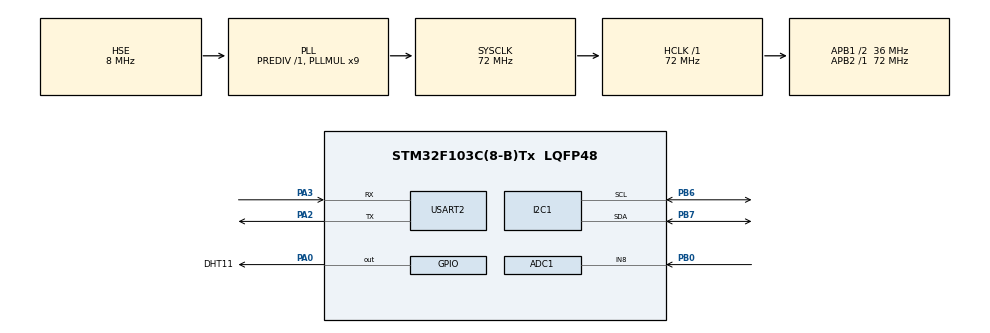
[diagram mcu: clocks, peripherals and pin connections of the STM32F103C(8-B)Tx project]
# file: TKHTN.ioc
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ADC1.Channel-6\#ChannelRegularConversion=ADC_CHANNEL_8
ADC1.NbrOfConversionFlag=1
ADC1.Rank-6\#ChannelRegularConversion=1
ADC1.SamplingTime-6\#ChannelRegularConversion=ADC_SAMPLETIME_1CYCLE_5
ADC1.master=1
FREERTOS.Tasks01=Task1,-2,128,Task1DHT11,Default,NULL,Dynamic,NULL,NULL;Task2,1,128,Task2MQ2,Default,NULL,Dynamic,NULL,NULL;Task3,0,128,Task3LCD,Default,NULL,Dynamic,NULL,NULL;Task4,2,128,Task4UART,Default,NULL,Dynamic,NULL,NULL
Mcu.Family=STM32F1
Mcu.Name=STM32F103C(8-B)Tx
Mcu.Package=LQFP48
NVIC.ADC1_2_IRQn=true\:5\:0\:false\:false\:true\:true\:true\:true\:true
NVIC.PriorityGroup=NVIC_PRIORITYGROUP_4
NVIC.TIM4_IRQn=true\:15\:0\:false\:false\:true\:false\:false\:true\:true
NVIC.TimeBase=TIM4_IRQn
NVIC.TimeBaseIP=TIM4
PA0-WKUP.GPIO_Label=DHT11
PA0-WKUP.Signal=GPIO_Output
PA13.Mode=Serial_Wire
PA13.Signal=SYS_JTMS-SWDIO
PA14.Mode=Serial_Wire
PA14.Signal=SYS_JTCK-SWCLK
PA2.Mode=Asynchronous
PA2.Signal=USART2_TX
PA3.Mode=Asynchronous
PA3.Signal=USART2_RX
PB0.Signal=ADCx_IN8
PB6.Mode=I2C
PB6.Signal=I2C1_SCL
PB7.Mode=I2C
PB7.Signal=I2C1_SDA
PD0-OSC_IN.Mode=HSE-External-Oscillator
PD0-OSC_IN.Signal=RCC_OSC_IN
PD1-OSC_OUT.Mode=HSE-External-Oscillator
PD1-OSC_OUT.Signal=RCC_OSC_OUT
ProjectManager.HeapSize=0x200
ProjectManager.StackSize=0x400
ProjectManager.TargetToolchain=MDK-ARM V5.32
RCC.ADCPresc=RCC_ADCPCLK2_DIV6
RCC.AHBFreq_Value=72000000
RCC.APB1CLKDivider=RCC_HCLK_DIV2
RCC.APB1Freq_Value=36000000
RCC.APB1TimFreq_Value=72000000
RCC.APB2Freq_Value=72000000
RCC.APB2TimFreq_Value=72000000
RCC.HCLKFreq_Value=72000000
RCC.PLLMUL=RCC_PLL_MUL9
RCC.PLLSourceVirtual=RCC_PLLSOURCE_HSE
RCC.SYSCLKFreq_VALUE=72000000
RCC.SYSCLKSource=RCC_SYSCLKSOURCE_PLLCLK
RCC.USBFreq_Value=72000000
SH.ADCx_IN8.0=ADC1_IN8,IN8
USART2.VirtualMode=VM_ASYNC
VP_FREERTOS_VS_CMSIS_V1.Mode=CMSIS_V1
VP_SYS_VS_tim4.Mode=TIM4
board=custom

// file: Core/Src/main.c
/* USER CODE BEGIN Header */
/**
  ******************************************************************************
  * @file           : main.c
  * @brief          : Main program body
  ******************************************************************************
  * @attention
  *
  * Copyright (c) 2025 STMicroelectronics.
  * All rights reserved.
  *
  * This software is licensed under terms that can be found in the LICENSE file
  * in the root directory of this software component.
  * If no LICENSE file comes with this software, it is provided AS-IS.
  *
  ******************************************************************************
  */
/* USER CODE END Header */
#include "main.h"
#include "cmsis_os.h"

/* USER CODE BEGIN Includes */

#include "i2c-lcd.h"
#include "FreeRTOS.h"
#include "stdio.h"
#include "string.h"
#include "task.h"
#include "queue.h"
#include "uart.h"
#include "dht11.h"

/* USER CODE END Includes */

/* USER CODE BEGIN PTD */
typedef struct {
    float temperature;
    float humidity;
} DHT11_Data_t;
/* USER CODE END PTD */

/* USER CODE BEGIN PD */

#define DHT11_PERIOD_MS 1000
#define MQ2_PERIOD_MS 200
#define LCD_PERIOD_MS 500
#define UART_PERIOD_MS 100

#define DHT11_DEADLINE_MS 1000
#define MQ2_DEADLINE_MS 200
#define LCD_DEADLINE_MS 500
#define UART_DEADLINE_MS 100

#define DHT11_EXCUTION_MS 20
#define MQ2_EXCUTION_MS 2
#define LCD_EXCUTION_MS 30
#define UART_EXCUTION_MS 5

/* USER CODE END PD */

/* USER CODE BEGIN PM */
																float temp =1 , hum =2 ;
																float gas_level =3.4f ;

/* USER CODE END PM */

ADC_HandleTypeDef hadc1;

I2C_HandleTypeDef hi2c1;

UART_HandleTypeDef huart2;

osThreadId Task1Handle;
osThreadId Task2Handle;
osThreadId Task3Handle;
osThreadId Task4Handle;
/* USER CODE BEGIN PV */

// Khai bao cac bien
uint32_t a = 0;
uint32_t b = 0;
uint32_t c = 0;
uint32_t d = 0;

uint32_t DHT11_Period_ms = 1000;
uint32_t MQ2_Period_ms = 200;
uint32_t LCD_Period_ms = 500;
uint32_t UART_Period_ms = 100;

uint8_t UART_Recv[5];

QueueHandle_t QueueDHT11Handle; // khoi tao mot Queue (tuong tu de khoi tao mot task thi ta co lenh: TaskHandle_t)
QueueHandle_t QueueMQ2Handle;
QueueHandle_t QueueLCDHandle;
QueueHandle_t QueueUARTHandle;

/* USER CODE END PV */

void SystemClock_Config(void);
static void MX_GPIO_Init(void);
static void MX_I2C1_Init(void);
static void MX_USART2_UART_Init(void);
static void MX_ADC1_Init(void);
void Task1DHT11(void const * argument);
void Task2MQ2(void const * argument);
void Task3LCD(void const * argument);
void Task4UART(void const * argument);

int main(void)
{

  /* MCU Configuration--------------------------------------------------------*/

  /* Reset of all peripherals, Initializes the Flash interface and the Systick. */
  HAL_Init();

  /* Configure the system clock */
  SystemClock_Config();

  /* Initialize all configured peripherals */
  MX_GPIO_Init();
  MX_I2C1_Init();
  MX_USART2_UART_Init();
  MX_ADC1_Init();

  /* USER CODE BEGIN RTOS_QUEUES */
  /* add queues, ... */
	QueueDHT11Handle = xQueueCreate(10, sizeof(char[50])); // tao mot queue moi
	QueueMQ2Handle = xQueueCreate(10, sizeof(char[50]));
	QueueLCDHandle = xQueueCreate(10, sizeof(char[50]));
	QueueUARTHandle = xQueueCreate(10, sizeof(char[50]));
  /* USER CODE END RTOS_QUEUES */

  /* Create the thread(s) */
  /* definition and creation of Task1 */
  osThreadDef(Task1, Task1DHT11, osPriorityLow, 0, 512);
  Task1Handle = osThreadCreate(osThread(Task1), NULL);

  /* definition and creation of Task2 */
  osThreadDef(Task2, Task2MQ2, osPriorityAboveNormal, 0, 512);
  Task2Handle = osThreadCreate(osThread(Task2), NULL);

  /* definition and creation of Task3 */
  osThreadDef(Task3, Task3LCD, osPriorityNormal, 0, 512);
  Task3Handle = osThreadCreate(osThread(Task3), NULL);

  /* definition and creation of Task4 */
  osThreadDef(Task4, Task4UART, osPriorityHigh, 0, 512);
  Task4Handle = osThreadCreate(osThread(Task4), NULL);

  /* Start scheduler */
  osKernelStart();

  /* We should never get here as control is now taken by the scheduler */

  /* Infinite loop */
  while (1)
  {

  }
}

void SystemClock_Config(void)
{
  RCC_OscInitTypeDef RCC_OscInitStruct = {0};
  RCC_ClkInitTypeDef RCC_ClkInitStruct = {0};
  RCC_PeriphCLKInitTypeDef PeriphClkInit = {0};

  /** Initializes the RCC Oscillators according to the specified parameters
  * in the RCC_OscInitTypeDef structure.
  */
  RCC_OscInitStruct.OscillatorType = RCC_OSCILLATORTYPE_HSE;
  RCC_OscInitStruct.HSEState = RCC_HSE_ON;
  RCC_OscInitStruct.HSEPredivValue = RCC_HSE_PREDIV_DIV1;
  RCC_OscInitStruct.HSIState = RCC_HSI_ON;
  RCC_OscInitStruct.PLL.PLLState = RCC_PLL_ON;
  RCC_OscInitStruct.PLL.PLLSource = RCC_PLLSOURCE_HSE;
  RCC_OscInitStruct.PLL.PLLMUL = RCC_PLL_MUL9;
  if (HAL_RCC_OscConfig(&RCC_OscInitStruct) != HAL_OK)
  {
    Error_Handler();
  }

  /** Initializes the CPU, AHB and APB buses clocks
  */
  RCC_ClkInitStruct.ClockType = RCC_CLOCKTYPE_HCLK|RCC_CLOCKTYPE_SYSCLK
                              |RCC_CLOCKTYPE_PCLK1|RCC_CLOCKTYPE_PCLK2;
  RCC_ClkInitStruct.SYSCLKSource = RCC_SYSCLKSOURCE_PLLCLK;
  RCC_ClkInitStruct.AHBCLKDivider = RCC_SYSCLK_DIV1;
  RCC_ClkInitStruct.APB1CLKDivider = RCC_HCLK_DIV2;
  RCC_ClkInitStruct.APB2CLKDivider = RCC_HCLK_DIV1;

  if (HAL_RCC_ClockConfig(&RCC_ClkInitStruct, FLASH_LATENCY_2) != HAL_OK)
  {
    Error_Handler();
  }
  PeriphClkInit.PeriphClockSelection = RCC_PERIPHCLK_ADC;
  PeriphClkInit.AdcClockSelection = RCC_ADCPCLK2_DIV6;
  if (HAL_RCCEx_PeriphCLKConfig(&PeriphClkInit) != HAL_OK)
  {
    Error_Handler();
  }
}

static void MX_ADC1_Init(void)
{

  ADC_ChannelConfTypeDef sConfig = {0};

  /** Common config
  */
  hadc1.Instance = ADC1;
  hadc1.Init.ScanConvMode = ADC_SCAN_DISABLE;
  hadc1.Init.ContinuousConvMode = DISABLE;
  hadc1.Init.DiscontinuousConvMode = DISABLE;
  hadc1.Init.ExternalTrigConv = ADC_SOFTWARE_START;
  hadc1.Init.DataAlign = ADC_DATAALIGN_RIGHT;
  hadc1.Init.NbrOfConversion = 1;
  if (HAL_ADC_Init(&hadc1) != HAL_OK)
  {
    Error_Handler();
  }

  /** Configure Regular Channel
  */
  sConfig.Channel = ADC_CHANNEL_8;
  sConfig.Rank = ADC_REGULAR_RANK_1;
  sConfig.SamplingTime = ADC_SAMPLETIME_1CYCLE_5;
  if (HAL_ADC_ConfigChannel(&hadc1, &sConfig) != HAL_OK)
  {
    Error_Handler();
  }

}

static void MX_I2C1_Init(void)
{

  hi2c1.Instance = I2C1;
  hi2c1.Init.ClockSpeed = 100000;
  hi2c1.Init.DutyCycle = I2C_DUTYCYCLE_2;
  hi2c1.Init.OwnAddress1 = 0;
  hi2c1.Init.AddressingMode = I2C_ADDRESSINGMODE_7BIT;
  hi2c1.Init.DualAddressMode = I2C_DUALADDRESS_DISABLE;
  hi2c1.Init.OwnAddress2 = 0;
  hi2c1.Init.GeneralCallMode = I2C_GENERALCALL_DISABLE;
  hi2c1.Init.NoStretchMode = I2C_NOSTRETCH_DISABLE;
  if (HAL_I2C_Init(&hi2c1) != HAL_OK)
  {
    Error_Handler();
  }

}

static void MX_USART2_UART_Init(void)
{

  huart2.Instance = USART2;
  huart2.Init.BaudRate = 115200;
  huart2.Init.WordLength = UART_WORDLENGTH_8B;
  huart2.Init.StopBits = UART_STOPBITS_1;
  huart2.Init.Parity = UART_PARITY_NONE;
  huart2.Init.Mode = UART_MODE_TX_RX;
  huart2.Init.HwFlowCtl = UART_HWCONTROL_NONE;
  huart2.Init.OverSampling = UART_OVERSAMPLING_16;
  if (HAL_UART_Init(&huart2) != HAL_OK)
  {
    Error_Handler();
  }

}

static void MX_GPIO_Init(void)
{
  GPIO_InitTypeDef GPIO_InitStruct = {0};

  /* GPIO Ports Clock Enable */
  __HAL_RCC_GPIOD_CLK_ENABLE();
  __HAL_RCC_GPIOA_CLK_ENABLE();
  __HAL_RCC_GPIOB_CLK_ENABLE();

  /*Configure GPIO pin Output Level */
  HAL_GPIO_WritePin(DHT11_GPIO_Port, DHT11_Pin, GPIO_PIN_RESET);

  /*Configure GPIO pin : DHT11_Pin */
  GPIO_InitStruct.Pin = DHT11_Pin;
  GPIO_InitStruct.Mode = GPIO_MODE_OUTPUT_PP;
  GPIO_InitStruct.Pull = GPIO_NOPULL;
  GPIO_InitStruct.Speed = GPIO_SPEED_FREQ_LOW;
  HAL_GPIO_Init(DHT11_GPIO_Port, &GPIO_InitStruct);

}

/* USER CODE BEGIN Header_Task1DHT11 */
/**
  * @brief  Function implementing the Task1 thread.
  * @param  argument: Not used  * @retval None
  */
/* USER CODE END Header_Task1DHT11 */
void Task1DHT11(void const * argument)
{
  /* USER CODE BEGIN 5 */
	TickType_t xLastWakeTime1 = osKernelSysTick();
	char message[50];
	//DHT11_Data_t dhtData;

  /* Infinite loop */
  for(;;)
  {
    a++;
		/*
		DHT11_Read(&temp, &hum);
		snprintf(message, sizeof(message), "Temp:%.2f ",temp);

		xQueueSend(QueueDHT11Handle, &message, 100);
		xQueueSend(QueueUARTHandle, &message, 100);
		*/
		osDelayUntil(&xLastWakeTime1, pdMS_TO_TICKS(DHT11_Period_ms));
  }
  /* USER CODE END 5 */
}

void Task2MQ2(void const * argument)
{
  /* USER CODE BEGIN Task2MQ2 */
	TickType_t xLastWakeTime2 = osKernelSysTick();
	char message[50];
	uint32_t raw_adc = 0;

  /* Infinite loop */
  for(;;)
  {
   b++;
		/*
		HAL_ADC_Start(&hadc1);
        HAL_ADC_PollForConversion(&hadc1, 10);
        raw_adc = HAL_ADC_GetValue(&hadc1);
        HAL_ADC_Stop(&hadc1);
    gas_level=(float)raw_adc/4095.f;

		snprintf(message, sizeof(message), "MQ2: %.2f", gas_level);

		xQueueSend(QueueMQ2Handle, &message, 100);
		xQueueSend(QueueUARTHandle, &message, 100);
		*/
    osDelayUntil(&xLastWakeTime2, pdMS_TO_TICKS(MQ2_Period_ms));
  }
  /* USER CODE END Task2MQ2 */
}

void Task3LCD(void const * argument)
{
  /* USER CODE BEGIN Task3LCD */
	TickType_t xLastWakeTime3 = osKernelSysTick();

  /* Infinite loop */
  for(;;)
  {
    c++;
		char buf[50];
		char buf1[50];
		// Xu ly task hien thi LCD
//		xQueueReceive(QueueDHT11Handle, buf, portMAX_DELAY);
//		xQueueReceive(QueueMQ2Handle, buf1, portMAX_DELAY);
		/*
		if (xQueueReceive(QueueDHT11Handle, buf, portMAX_DELAY) == pdPASS) {
		lcd_goto_XY(0, 0);
		lcd_send_string(buf);}

		if (xQueueReceive(QueueMQ2Handle, buf1, portMAX_DELAY) == pdPASS) {
		lcd_goto_XY(1, 0);
		lcd_send_string(buf1);}
		*/
		lcd_goto_XY(0, 0);
		snprintf(buf,sizeof(buf), "Temp: %f", temp);
		lcd_send_string(buf);

		osDelayUntil(&xLastWakeTime3, pdMS_TO_TICKS(LCD_Period_ms));
  }
  /* USER CODE END Task3LCD */
}

void Task4UART(void const * argument)
{
  /* USER CODE BEGIN Task4UART */
	TickType_t xLastWakeTime4 = osKernelSysTick();
	char uart_buf[100];
  /* Infinite loop */
  for(;;)
  {
    d++;
		/*
		if (xQueueReceive(QueueUARTHandle, uart_buf, portMAX_DELAY) == pdPASS)
        {
					strcat(uart_buf, "\n");
            HAL_UART_Transmit(&huart2, (uint8_t *)uart_buf, strlen(uart_buf), HAL_MAX_DELAY);
        }
		else {
		*/

		osDelayUntil(&xLastWakeTime4, pdMS_TO_TICKS(UART_Period_ms));
  }
  /* USER CODE END Task4UART */
}

void HAL_TIM_PeriodElapsedCallback(TIM_HandleTypeDef *htim)
{
  if (htim->Instance == TIM4) {
    HAL_IncTick();
  }
}

void Error_Handler(void)
{
  __disable_irq();
  while (1)
  {
  }
}
